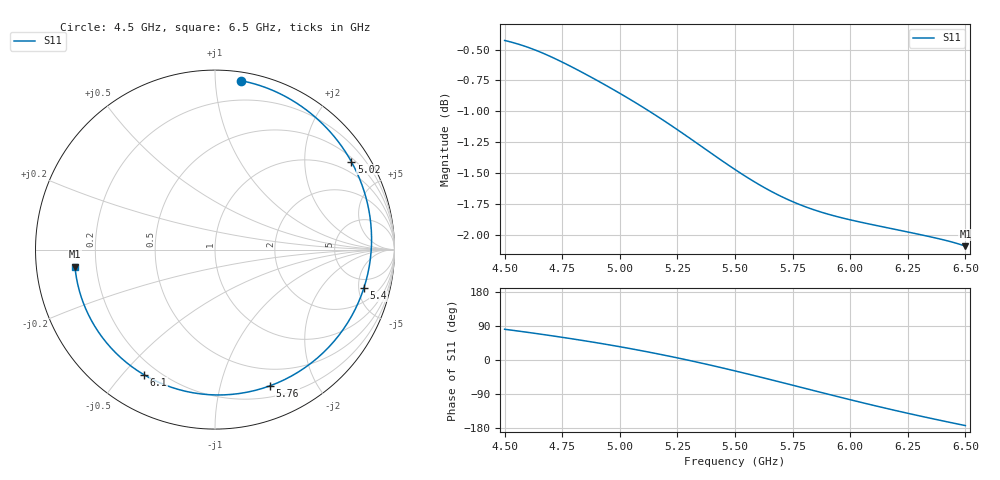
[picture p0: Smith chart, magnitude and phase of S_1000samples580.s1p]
! TOUCHSTONE file generated by CST MICROWAVE STUDIO
! Date and time: Fri Oct 28 16:17:31 2022
! Project name: L.cst
! Parameters = {Di=1.27; Epsilon_r=1.56; InnerDiameter=1.27; Length=2; Lf=10; Lg=60; OuterConductorThickness=0.2921; OuterDiameter=3.6; Wf=3; Wp=41.2; de=1.5; df=6.8; g=0.8; gx=3.28368; gy=1.61217; h=2.34; hf=1.524; px=9.12658; py=10.1646; w=9.7; wx=5.84289; wy=8.5524}
! Header version: 2018
! Port assignment regex: !\s*Touchstone port\s*([0-9]+)\s*=\s*(CST MWS port|CST DS port)\s*([0-9]+|Zmin|Zmax)\s*\(\"(.*)\"\)(\s*mode\s*([0-9]+))?.*
! Touchstone port assignment:
! Touchstone port 1 = CST MWS port 1 ("")
# GHz S DB R 50
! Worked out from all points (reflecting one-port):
!   101 points, 4.5 GHz to 6.5 GHz, reference 50 ohm
!   lowest |S11| = -2.1 dB at 6.5 GHz (marker M1), VSWR 8.34, Z = 6.02 - j2.97 ohm
!   phase of S11 starts at 81 deg and turns -254 deg over the sweep
!   S11 on the Smith chart (normalised r, x): 4.5 GHz: 0.06, +1.17; 5.02 GHz: 0.61, +3.29; 5.4 GHz: 3.54, -5.71; 5.76 GHz: 0.31, -1.44; 6.1 GHz: 0.15, -0.57; 6.5 GHz: 0.12, -0.06
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4.5  -0.43 81.1
4.64  -0.51 69.6
4.76  -0.61 58.9
4.88  -0.73 47.5
5  -0.85 35.0
5.02  -0.88 32.9
5.14  -1.01 19.1
5.2  -1.09 11.9
5.26  -1.16 4.3
5.34  -1.27 -6.3
5.4  -1.34 -14.5
5.44  -1.40 -20.1
5.5  -1.47 -28.8
5.56  -1.54 -37.6
5.64  -1.63 -49.6
5.7  -1.69 -58.8
5.76  -1.74 -68.0
5.82  -1.78 -77.3
5.88  -1.82 -86.5
5.94  -1.85 -95.7
6  -1.88 -104.8
6.1  -1.92 -119.5
6.18  -1.95 -130.9
6.26  -1.98 -142.0
6.32  -2.01 -150.0
6.38  -2.03 -157.9
6.44  -2.06 -165.5
6.5  -2.09 -173.1
